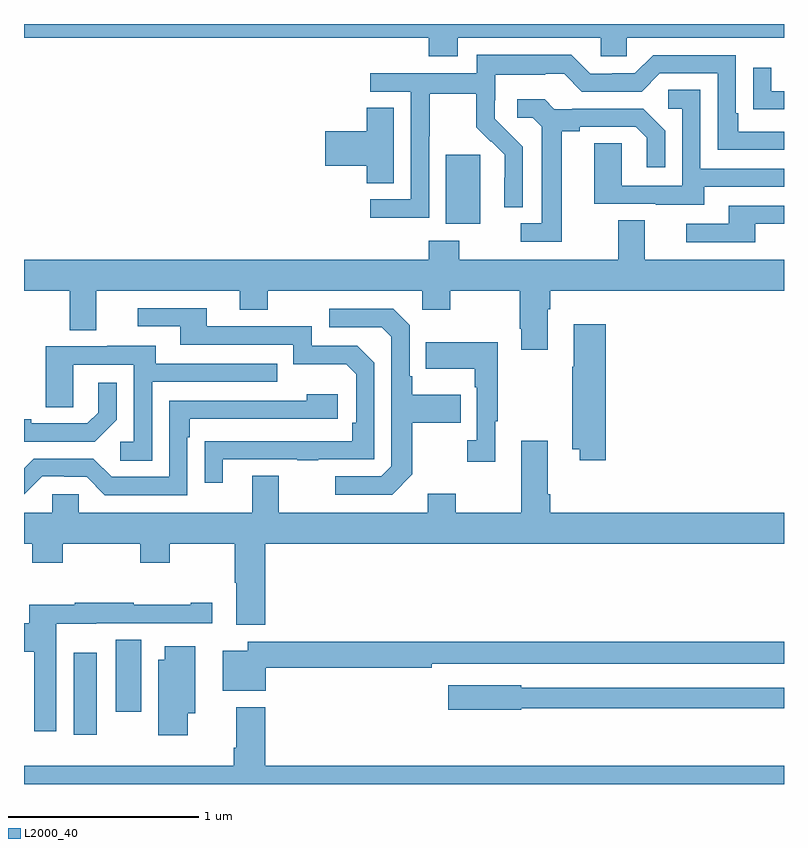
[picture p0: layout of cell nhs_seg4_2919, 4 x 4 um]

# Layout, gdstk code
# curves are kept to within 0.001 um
import gdstk
lib = gdstk.Library(unit=1e-6, precision=1e-09)
def R(c, l, rs):  # rectangles x0, y0, x1, y1
    for r in rs: c.add(gdstk.rectangle(r[:2], r[2:], *l))
def P(c, l, *ps):  # polygons
    for p in ps: c.add(gdstk.Polygon(p, *l))
L2000_40 = (2000, 40)

nhs_seg4_2919 = lib.new_cell('nhs_seg4_2919')
R(nhs_seg4_2919, L2000_40, [(265.262,785.16,265.384,785.59), (265.484,785.28,265.618,785.66), (267.221,787.85,267.4,788.211)])
P(nhs_seg4_2919, L2000_40, [(267.283,788.828),(268.035,788.828),(268.035,788.73),(268.173,788.73),(268.173,788.828),(269,788.828),(269,788.9),(265,788.9),(265,788.828),(267.131,788.828),(267.131,788.729),(267.283,788.729)],
  [(267.132,788.308),(267.135,788.308),(267.135,788.532),(267.379,788.532),(267.379,788.357),(267.456,788.28),(267.459,788.283),(267.53,788.213),(267.53,788.09),(267.528,788.09),(267.528,787.936),(267.624,787.936),(267.624,788.254),(267.478,788.402),(267.478,788.499),(267.48,788.499),(267.48,788.633),(267.743,788.633),(267.743,788.637),(267.843,788.637),(267.936,788.544),(268.251,788.544),(268.347,788.64),(268.65,788.64),(268.65,788.238),(269,788.238),(269,788.334),(268.759,788.334),(268.759,788.431),(268.746,788.431),(268.746,788.736),(268.311,788.736),(268.215,788.64),(268.097,788.64),(268.097,788.637),(267.981,788.637),(267.881,788.737),(267.384,788.737),(267.384,788.64),(266.823,788.64),(266.823,788.544),(267.036,788.544),(267.036,787.977),(266.823,787.977),(266.823,787.879),(267.132,787.879)],
  [(269,788.547),(268.933,788.547),(268.933,788.671),(268.837,788.671),(268.837,788.452),(268.939,788.452),(268.939,788.451),(269,788.451)],
  [(268.579,788.043),(269,788.043),(269,788.139),(268.56,788.139),(268.56,788.555),(268.392,788.555),(268.392,788.454),(268.464,788.454),(268.464,788.049),(268.146,788.049),(268.146,788.273),(268.001,788.273),(268.001,787.953),(268.325,787.953),(268.325,787.949),(268.579,787.949)],
  [(267.829,788.336),(267.925,788.336),(267.925,788.358),(268.22,788.358),(268.277,788.301),(268.277,788.145),(268.374,788.145),(268.374,788.338),(268.258,788.454),(267.886,788.454),(267.886,788.451),(267.792,788.451),(267.74,788.503),(267.597,788.503),(267.597,788.406),(267.678,788.406),(267.725,788.359),(267.725,787.851),(267.615,787.851),(267.615,787.755),(267.829,787.755)],
  [(266.947,788.459),(266.804,788.459),(266.804,788.336),(266.586,788.336),(266.586,788.153),(266.804,788.153),(266.804,788.062),(266.947,788.062)],
  [(268.849,787.848),(269,787.848),(269,787.944),(268.709,787.944),(268.709,787.848),(268.485,787.848),(268.485,787.752),(268.849,787.752)],
  [(267.757,787.4),(267.77,787.4),(267.77,787.496),(269,787.496),(269,787.66),(268.267,787.66),(268.267,787.868),(268.127,787.868),(268.127,787.66),(267.291,787.66),(267.291,787.759),(267.131,787.759),(267.131,787.66),(265,787.66),(265,787.496),(265.241,787.496),(265.241,787.288),(265.381,787.288),(265.381,787.496),(266.135,787.496),(266.135,787.397),(266.283,787.397),(266.283,787.496),(267.096,787.496),(267.096,787.397),(267.243,787.397),(267.243,787.496),(267.61,787.496),(267.61,787.297),(267.617,787.297),(267.617,787.185),(267.757,787.185)],
  [(266.047,786.609),(266.437,786.609),(266.437,786.604),(266.549,786.604),(266.549,786.609),(266.844,786.609),(266.844,787.116),(266.754,787.206),(266.514,787.206),(266.514,787.308),(265.963,787.308),(265.963,787.404),(265.599,787.404),(265.599,787.308),(265.823,787.308),(265.823,787.212),(266.418,787.212),(266.418,787.109),(266.695,787.109),(266.748,787.056),(266.748,786.802),(266.728,786.802),(266.728,786.705),(265.951,786.704),(265.951,786.486),(266.047,786.486)],
  [(267.043,786.529),(267.043,786.802),(267.299,786.802),(267.299,786.949),(267.043,786.949),(267.043,787.045),(267.03,787.045),(267.03,787.314),(266.943,787.401),(266.607,787.401),(266.607,787.305),(266.883,787.305),(266.934,787.254),(266.934,786.573),(266.88,786.519),(266.637,786.519),(266.637,786.423),(266.937,786.423)],
  [(268.061,787.321),(267.893,787.321),(267.893,787.097),(267.886,787.097),(267.886,786.662),(267.926,786.662),(267.926,786.603),(268.061,786.603)],
  [(267.481,786.809),(267.493,786.809),(267.493,787.225),(267.115,787.225),(267.115,787.085),(267.372,787.085),(267.372,786.989),(267.384,786.989),(267.384,786.71),(267.333,786.71),(267.333,786.597),(267.481,786.597)],
  [(265.674,787.017),(266.333,787.017),(266.333,787.113),(265.693,787.113),(265.693,787.207),(265.439,787.207),(265.439,787.203),(265.115,787.203),(265.115,786.883),(265.26,786.883),(265.26,787.107),(265.578,787.107),(265.578,786.702),(265.506,786.702),(265.506,786.601),(265.674,786.601)],
  [(265.488,786.818),(265.488,787.012),(265.391,787.012),(265.391,786.855),(265.334,786.798),(265.039,786.798),(265.039,786.821),(265,786.821),(265,786.702),(265.372,786.702)],
  [(265.86,786.725),(265.873,786.725),(265.873,786.822),(266.65,786.822),(266.65,786.952),(266.489,786.952),(266.489,786.918),(265.764,786.918),(265.764,786.516),(265.461,786.516),(265.365,786.612),(265.05,786.612),(265,786.562),(265,786.424),(265.095,786.519),(265.211,786.519),(265.211,786.516),(265.329,786.516),(265.425,786.42),(265.86,786.42)],
  [(266.27,786.164),(269,786.164),(269,786.328),(267.77,786.328),(267.77,786.424),(267.757,786.424),(267.757,786.706),(267.617,786.706),(267.617,786.328),(267.273,786.328),(267.273,786.427),(267.125,786.427),(267.125,786.328),(266.341,786.328),(266.341,786.523),(266.201,786.523),(266.201,786.328),(265.287,786.328),(265.287,786.426),(265.149,786.426),(265.149,786.328),(265,786.328),(265,786.164),(265.043,786.164),(265.043,786.065),(265.203,786.065),(265.203,786.164),(265.612,786.164),(265.612,786.065),(265.767,786.065),(265.767,786.164),(266.11,786.164),(266.11,785.96),(266.117,785.96),(266.117,785.739),(266.27,785.739)],
  [(265.17,785.744),(265.38,785.744),(265.38,785.745),(265.99,785.745),(265.99,785.854),(265.877,785.854),(265.877,785.844),(265.577,785.844),(265.577,785.854),(265.267,785.854),(265.267,785.844),(265.028,785.844),(265.028,785.745),(265,785.745),(265,785.597),(265.054,785.597),(265.054,785.178),(265.17,785.178)],
  [(266.272,785.512),(267.146,785.512),(267.146,785.532),(269,785.532),(269,785.648),(266.178,785.648),(266.178,785.602),(266.045,785.602),(266.045,785.39),(266.272,785.39)],
  [(265.861,785.273),(265.9,785.273),(265.9,785.626),(265.742,785.626),(265.742,785.554),(265.706,785.554),(265.706,785.157),(265.861,785.157)],
  [(267.618,785.298),(269,785.298),(269,785.406),(267.618,785.406),(267.618,785.419),(267.234,785.419),(267.234,785.29),(267.618,785.29)],
  [(269,784.996),(266.27,784.996),(266.27,785.305),(266.117,785.305),(266.117,785.092),(266.105,785.092),(266.105,784.996),(265,784.996),(265,784.9),(269,784.9)])

lib.write_gds('nhs_seg4_2919.gds')
